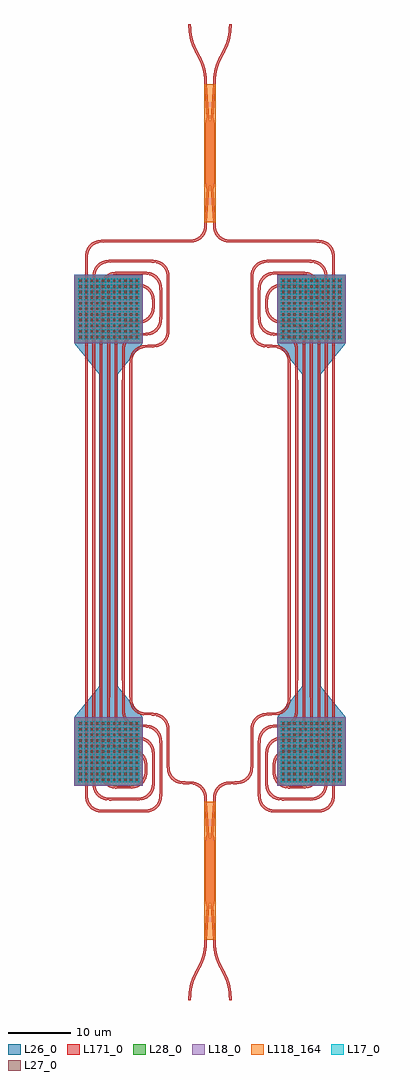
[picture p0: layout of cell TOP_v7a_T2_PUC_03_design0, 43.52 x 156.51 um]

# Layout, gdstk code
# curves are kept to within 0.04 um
import gdstk
lib = gdstk.Library(unit=1e-6, precision=1e-09)
def R(c, l, rs):  # rectangles x0, y0, x1, y1
    for r in rs: c.add(gdstk.rectangle(r[:2], r[2:], *l))
def A(c, l, x, y, w, h, nx, ny, dx, dy):  # array of equal rectangles
    R(c, l, [(x+i*dx, y+j*dy, x+i*dx+w, y+j*dy+h) for i in range(nx) for j in range(ny)])
def P(c, l, *ps):  # polygons
    for p in ps: c.add(gdstk.Polygon(p, *l))
L17_0 = (17, 0)
L18_0 = (18, 0)
L26_0 = (26, 0)
L27_0 = (27, 0)
L28_0 = (28, 0)
L118_164 = (118, 164)
L171_0 = (171, 0)

top_v7a_t2_puc_03_design = lib.new_cell('TOP_v7a_T2_PUC_03_design0')
A(top_v7a_t2_puc_03_design, L17_0, -21.16, -43.323, 0.2, 0.2, 21, 21, 0.48, 0.48)
A(top_v7a_t2_puc_03_design, L17_0, 11.36, -43.323, 0.2, 0.2, 21, 21, 0.48, 0.48)
A(top_v7a_t2_puc_03_design, L17_0, -21.16, 27.677, 0.2, 0.2, 21, 21, 0.48, 0.48)
A(top_v7a_t2_puc_03_design, L17_0, 11.36, 27.677, 0.2, 0.2, 21, 21, 0.48, 0.48)
R(top_v7a_t2_puc_03_design, L18_0, [(-21.76,-43.923,-10.76,-32.923), (10.76,-43.923,21.76,-32.923), (-21.76,27.077,-10.76,38.077), (10.76,27.077,21.76,38.077)])
R(top_v7a_t2_puc_03_design, L26_0, [(-21.76,-43.923,-10.76,-32.923), (10.76,-43.923,21.76,-32.923), (-17.76,-27.923,-14.76,22.077), (14.76,-27.923,17.76,22.077), (-21.76,27.077,-10.76,38.077), (10.76,27.077,21.76,38.077)])
P(top_v7a_t2_puc_03_design, L26_0, [(14.76,22.077),(10.76,27.077),(21.76,27.077),(17.76,22.077)],
  [(10.76,-32.923),(14.76,-27.923),(17.76,-27.923),(21.76,-32.923)],
  [(-17.76,22.077),(-21.76,27.077),(-10.76,27.077),(-14.76,22.077)],
  [(-21.76,-32.923),(-17.76,-27.923),(-14.76,-27.923),(-10.76,-32.923)])
A(top_v7a_t2_puc_03_design, L27_0, -20.94, -43.103, 0.36, 0.36, 11, 11, 0.9, 0.9)
A(top_v7a_t2_puc_03_design, L27_0, 11.58, -43.103, 0.36, 0.36, 11, 11, 0.9, 0.9)
A(top_v7a_t2_puc_03_design, L27_0, -20.94, 27.897, 0.36, 0.36, 11, 11, 0.9, 0.9)
A(top_v7a_t2_puc_03_design, L27_0, 11.58, 27.897, 0.36, 0.36, 11, 11, 0.9, 0.9)
R(top_v7a_t2_puc_03_design, L28_0, [(-21.76,-43.923,-10.76,-32.923), (10.76,-43.923,21.76,-32.923), (-21.76,27.077,-10.76,38.077), (10.76,27.077,21.76,38.077)])
R(top_v7a_t2_puc_03_design, L118_164, [(-0.91,-68.623,0.91,-46.423), (-0.91,46.423,0.91,68.623)])
R(top_v7a_t2_puc_03_design, L171_0, [(-16.815,43.218,-3.705,43.628), (3.705,43.218,16.815,43.628)])
P(top_v7a_t2_puc_03_design, L171_0, [(10.722,-48.179),(9.667,-48.085),(8.871,-47.751),(8.488,-47.451),(8.204,-47.126),(7.979,-46.758),(7.805,-46.305),(7.685,-45.252),(7.692,-36.775),(7.778,-36.11),(7.979,-35.548),(8.304,-35.052),(8.694,-34.679),(9.203,-34.376),(9.721,-34.209),(11.722,-34.09),(12.495,-33.852),(12.953,-33.528),(13.315,-33.1),(13.54,-32.636),(13.659,-32.068),(13.68,25.88),(13.605,26.561),(13.431,27.05),(13.117,27.515),(12.657,27.912),(12.237,28.121),(11.819,28.23),(10.108,28.305),(9.353,28.469),(8.609,28.901),(8.056,29.56),(7.805,30.155),(7.692,30.929),(7.708,36.089),(7.805,36.639),(7.979,37.092),(8.27,37.546),(8.651,37.927),(9.105,38.218),(9.558,38.392),(10.722,38.513),(14.892,38.509),(15.88,38.361),(16.554,38.025),(17.099,37.503),(17.463,36.844),(17.627,36.089),(17.647,-41.6),(17.53,-42.485),(17.163,-43.262),(16.554,-43.871),(15.828,-44.223),(15.003,-44.351),(12.702,-44.351),(11.982,-44.252),(11.38,-44.014),(10.745,-43.515),(10.303,-42.84),(10.097,-42.101),(10.054,-40.985),(10.097,-40.205),(10.242,-39.616),(10.542,-39.044),(10.938,-38.602),(11.427,-38.267),(11.982,-38.054),(12.646,-37.958),(14.092,-37.91),(14.563,-37.803),(14.906,-37.65),(15.391,-37.284),(15.734,-36.84),(15.951,-36.322),(16.041,-35.741),(16.029,34.132),(15.91,34.7),(15.659,35.203),(15.253,35.655),(14.738,35.978),(14.334,36.112),(13.8,36.181),(11.487,36.178),(11.001,36.112),(10.554,35.958),(10.155,35.714),(9.817,35.39),(9.578,35.043),(9.397,34.611),(9.281,33.593),(9.294,32.809),(9.384,32.228),(9.601,31.71),(9.944,31.266),(10.388,30.923),(10.906,30.706),(11.487,30.616),(13.134,30.542),(13.662,30.396),(14.184,30.115),(14.661,29.678),(15.032,29.084),(15.23,28.4),(15.281,27.565),(15.262,-33.969),(15.16,-34.575),(14.936,-35.123),(14.553,-35.645),(14.094,-36.021),(13.612,-36.261),(13.078,-36.398),(11.34,-36.474),(10.772,-36.593),(10.155,-36.926),(9.625,-37.516),(9.384,-38.074),(9.291,-38.703),(9.306,-43.798),(9.458,-44.454),(9.817,-45.056),(10.308,-45.488),(10.906,-45.754),(11.879,-45.857),(15.826,-45.857),(16.559,-45.806),(17.317,-45.537),(17.947,-44.983),(18.308,-44.277),(18.42,-43.456),(18.414,37.757),(18.345,38.291),(18.211,38.695),(17.975,39.099),(17.693,39.412),(17.317,39.691),(16.933,39.867),(16.023,40.007),(9.509,40.011),(8.679,39.942),(8.059,39.714),(7.574,39.348),(7.164,38.78),(6.962,38.146),(6.91,37.266),(6.911,29.381),(6.962,28.648),(7.124,28.099),(7.36,27.695),(7.642,27.382),(7.978,27.127),(8.358,26.943),(8.97,26.808),(10.764,26.722),(11.292,26.576),(11.77,26.325),(12.22,25.939),(12.566,25.457),(12.79,24.909),(12.892,24.303),(12.911,-29.591),(12.86,-30.426),(12.704,-31.01),(12.359,-31.619),(11.858,-32.109),(11.392,-32.38),(10.819,-32.558),(8.97,-32.654),(8.402,-32.773),(7.712,-33.165),(7.231,-33.736),(7.014,-34.254),(6.921,-34.883),(6.91,-40.423),(6.5,-40.423),(6.507,-34.865),(6.606,-34.145),(6.844,-33.543),(7.383,-32.872),(7.778,-32.589),(8.168,-32.405),(8.923,-32.241),(10.683,-32.157),(11.183,-32.004),(11.587,-31.768),(12.022,-31.343),(12.322,-30.814),(12.462,-30.255),(12.5,-29.472),(12.474,24.312),(12.355,24.88),(12.155,25.304),(11.836,25.708),(11.432,26.027),(11.052,26.211),(10.634,26.32),(8.923,26.395),(8.118,26.578),(7.686,26.799),(7.303,27.099),(6.987,27.468),(6.748,27.89),(6.57,28.463),(6.503,29.13),(6.523,37.999),(6.62,38.549),(6.794,39.002),(7.051,39.413),(7.424,39.803),(7.825,40.078),(8.27,40.271),(8.757,40.38),(9.426,40.422),(15.909,40.422),(16.908,40.316),(17.604,40.023),(18.181,39.539),(18.587,38.904),(18.793,38.165),(18.86,28.429),(18.832,-43.51),(18.715,-44.395),(18.348,-45.172),(17.739,-45.781),(17.317,-46.02),(16.908,-46.162),(16.077,-46.265),(11.907,-46.269),(10.743,-46.148),(10.01,-45.811),(9.455,-45.302),(9.076,-44.65),(8.893,-43.845),(8.88,-38.629),(8.99,-37.911),(9.269,-37.269),(9.524,-36.921),(9.879,-36.589),(10.64,-36.189),(11.349,-36.056),(13.004,-35.986),(13.762,-35.717),(14.206,-35.374),(14.525,-34.97),(14.725,-34.546),(14.844,-33.978),(14.87,27.446),(14.818,28.326),(14.656,28.875),(14.333,29.39),(13.881,29.796),(13.466,30.014),(13.004,30.14),(11.349,30.21),(10.743,30.312),(10.101,30.591),(9.597,30.995),(9.214,31.517),(8.99,32.065),(8.888,32.671),(8.869,33.565),(8.99,34.729),(9.189,35.23),(9.489,35.678),(9.879,36.051),(10.29,36.308),(10.743,36.482),(11.349,36.584),(13.986,36.584),(14.592,36.482),(15.045,36.308),(15.582,35.948),(16.038,35.416),(16.314,34.832),(16.447,34.123),(16.49,24.609),(16.447,-35.879),(16.33,-36.536),(16.066,-37.127),(15.662,-37.631),(15.187,-37.987),(14.695,-38.207),(14.263,-38.308),(12.186,-38.438),(11.697,-38.612),(11.267,-38.895),(10.915,-39.271),(10.643,-39.762),(10.517,-40.224),(10.466,-40.957),(10.503,-41.985),(10.679,-42.631),(11.065,-43.216),(11.614,-43.65),(12.091,-43.844),(12.72,-43.937),(14.838,-43.943),(15.659,-43.831),(16.365,-43.47),(16.87,-42.92),(17.16,-42.227),(17.239,-41.349),(17.214,36.042),(17.079,36.654),(16.762,37.227),(16.251,37.706),(15.659,37.985),(14.641,38.101),(10.35,38.091),(9.816,38.022),(9.412,37.888),(8.97,37.624),(8.632,37.3),(8.393,36.953),(8.212,36.521),(8.096,35.503),(8.109,30.899),(8.226,30.228),(8.491,29.681),(9.008,29.142),(9.676,28.809),(10.302,28.706),(11.838,28.65),(12.675,28.398),(13.086,28.141),(13.441,27.809),(13.751,27.367),(13.944,26.922),(14.053,26.435),(14.095,25.766),(14.12,16.699),(14.072,-32.115),(13.96,-32.716),(13.724,-33.26),(13.368,-33.735),(12.909,-34.111),(12.427,-34.351),(11.893,-34.488),(10.155,-34.564),(9.543,-34.699),(9.163,-34.883),(8.827,-35.138),(8.545,-35.451),(8.309,-35.855),(8.147,-36.404),(8.096,-37.137),(8.121,-45.708),(8.273,-46.364),(8.632,-46.966),(9.163,-47.423),(9.816,-47.688),(10.841,-47.768),(17.011,-47.767),(17.744,-47.716),(18.502,-47.447),(19.132,-46.893),(19.493,-46.187),(19.605,-45.366),(19.61,40.423),(20.02,40.423),(19.997,-45.755),(19.814,-46.56),(19.435,-47.212),(18.88,-47.721),(18.147,-48.058),(17.094,-48.178)],
  [(-16.983,-48.179),(-17.708,-48.143),(-18.25,-48.027),(-18.742,-47.807),(-19.177,-47.488),(-19.533,-47.082),(-19.814,-46.56),(-19.97,-45.976),(-20.017,-45.42),(-20.02,40.423),(-19.61,40.423),(-19.605,-45.366),(-19.54,-45.999),(-19.396,-46.451),(-19.132,-46.893),(-18.808,-47.231),(-18.42,-47.492),(-17.984,-47.664),(-16.864,-47.768),(-10.694,-47.767),(-9.816,-47.688),(-9.163,-47.423),(-8.632,-46.966),(-8.273,-46.364),(-8.121,-45.708),(-8.096,-37.137),(-8.147,-36.404),(-8.309,-35.855),(-8.545,-35.451),(-8.827,-35.138),(-9.163,-34.883),(-9.543,-34.699),(-10.155,-34.564),(-11.893,-34.488),(-12.427,-34.351),(-12.909,-34.111),(-13.368,-33.735),(-13.724,-33.26),(-13.96,-32.716),(-14.072,-32.115),(-14.12,16.699),(-14.095,25.766),(-14.053,26.435),(-13.944,26.922),(-13.751,27.367),(-13.441,27.809),(-13.086,28.141),(-12.675,28.398),(-11.838,28.65),(-10.302,28.706),(-9.631,28.823),(-8.97,29.17),(-8.465,29.72),(-8.212,30.273),(-8.106,30.947),(-8.1,35.7),(-8.147,36.236),(-8.256,36.654),(-8.465,37.074),(-8.759,37.438),(-9.123,37.732),(-9.543,37.941),(-9.961,38.05),(-10.497,38.097),(-14.838,38.097),(-15.659,37.985),(-16.251,37.706),(-16.762,37.227),(-17.079,36.654),(-17.214,36.042),(-17.239,-41.349),(-17.16,-42.227),(-16.87,-42.92),(-16.365,-43.47),(-15.659,-43.831),(-14.838,-43.943),(-12.72,-43.937),(-12.091,-43.844),(-11.614,-43.65),(-11.065,-43.216),(-10.679,-42.631),(-10.503,-41.985),(-10.466,-40.957),(-10.517,-40.224),(-10.643,-39.762),(-10.915,-39.271),(-11.267,-38.895),(-11.697,-38.612),(-12.186,-38.438),(-14.263,-38.308),(-14.695,-38.207),(-15.187,-37.987),(-15.662,-37.631),(-16.066,-37.127),(-16.33,-36.536),(-16.447,-35.879),(-16.49,-26.365),(-16.447,34.123),(-16.314,34.832),(-16.038,35.416),(-15.582,35.948),(-15.045,36.308),(-14.592,36.482),(-13.986,36.584),(-11.349,36.584),(-10.743,36.482),(-10.29,36.308),(-9.879,36.051),(-9.489,35.678),(-9.189,35.23),(-8.99,34.729),(-8.869,33.565),(-8.888,32.671),(-8.99,32.065),(-9.214,31.517),(-9.597,30.995),(-10.101,30.591),(-10.743,30.312),(-11.349,30.21),(-13.004,30.14),(-13.466,30.014),(-13.881,29.796),(-14.333,29.39),(-14.656,28.875),(-14.818,28.326),(-14.87,27.446),(-14.844,-33.978),(-14.725,-34.546),(-14.525,-34.97),(-14.206,-35.374),(-13.762,-35.717),(-13.004,-35.986),(-11.349,-36.056),(-10.64,-36.189),(-9.879,-36.589),(-9.524,-36.921),(-9.269,-37.269),(-8.99,-37.911),(-8.88,-38.629),(-8.893,-43.845),(-9.057,-44.6),(-9.421,-45.259),(-9.966,-45.781),(-10.692,-46.133),(-11.182,-46.233),(-11.907,-46.269),(-15.909,-46.268),(-16.799,-46.187),(-17.217,-46.062),(-17.649,-45.841),(-18.284,-45.259),(-18.684,-44.498),(-18.832,-43.51),(-18.86,28.429),(-18.812,37.999),(-18.629,38.804),(-18.216,39.498),(-17.649,39.995),(-16.908,40.316),(-15.909,40.422),(-8.923,40.399),(-8.118,40.216),(-7.383,39.768),(-6.871,39.144),(-6.581,38.386),(-6.499,37.385),(-6.507,29.019),(-6.593,28.354),(-6.794,27.792),(-7.119,27.296),(-7.509,26.923),(-8.018,26.62),(-8.536,26.453),(-10.537,26.334),(-11.31,26.096),(-11.768,25.772),(-12.13,25.344),(-12.355,24.88),(-12.474,24.312),(-12.495,-29.816),(-12.42,-30.497),(-12.246,-30.986),(-11.932,-31.451),(-11.472,-31.848),(-11.052,-32.057),(-10.634,-32.166),(-8.923,-32.241),(-8.168,-32.405),(-7.778,-32.589),(-7.383,-32.872),(-6.844,-33.543),(-6.606,-34.145),(-6.507,-34.865),(-6.5,-40.423),(-6.91,-40.423),(-6.921,-34.883),(-7.014,-34.254),(-7.231,-33.736),(-7.712,-33.165),(-8.402,-32.773),(-8.97,-32.654),(-10.819,-32.558),(-11.392,-32.38),(-11.858,-32.109),(-12.359,-31.619),(-12.704,-31.01),(-12.86,-30.426),(-12.911,-29.591),(-12.892,24.303),(-12.79,24.909),(-12.566,25.457),(-12.22,25.939),(-11.77,26.325),(-11.292,26.576),(-10.764,26.722),(-8.97,26.808),(-8.358,26.943),(-7.978,27.127),(-7.642,27.382),(-7.36,27.695),(-7.124,28.099),(-6.962,28.648),(-6.911,29.381),(-6.948,38.049),(-7.164,38.78),(-7.574,39.348),(-8.142,39.758),(-8.873,39.974),(-16.17,40.001),(-16.933,39.867),(-17.55,39.534),(-17.947,39.137),(-18.229,38.652),(-18.373,38.146),(-18.424,37.413),(-18.425,-43.112),(-18.373,-43.992),(-18.149,-44.668),(-17.693,-45.258),(-17.065,-45.662),(-16.559,-45.806),(-15.826,-45.857),(-11.879,-45.857),(-11.001,-45.778),(-10.348,-45.513),(-9.817,-45.056),(-9.458,-44.454),(-9.306,-43.798),(-9.291,-38.703),(-9.384,-38.074),(-9.625,-37.516),(-10.155,-36.926),(-10.772,-36.593),(-11.34,-36.474),(-13.078,-36.398),(-13.612,-36.261),(-14.094,-36.021),(-14.553,-35.645),(-14.936,-35.123),(-15.16,-34.575),(-15.262,-33.969),(-15.281,27.565),(-15.23,28.4),(-15.032,29.084),(-14.661,29.678),(-14.184,30.115),(-13.662,30.396),(-13.134,30.542),(-11.487,30.616),(-10.906,30.706),(-10.388,30.923),(-9.944,31.266),(-9.601,31.71),(-9.397,32.183),(-9.306,32.662),(-9.28,33.446),(-9.384,34.566),(-9.534,34.96),(-9.758,35.317),(-10.082,35.655),(-10.429,35.894),(-10.861,36.075),(-11.34,36.166),(-13.8,36.181),(-14.334,36.112),(-14.738,35.978),(-15.253,35.655),(-15.659,35.203),(-15.91,34.7),(-16.029,34.132),(-16.041,-35.741),(-15.951,-36.322),(-15.734,-36.84),(-15.391,-37.284),(-14.906,-37.65),(-14.563,-37.803),(-14.092,-37.91),(-12.646,-37.958),(-11.982,-38.054),(-11.427,-38.267),(-10.938,-38.602),(-10.542,-39.044),(-10.242,-39.616),(-10.097,-40.205),(-10.054,-40.985),(-10.097,-42.101),(-10.303,-42.84),(-10.745,-43.515),(-11.38,-44.014),(-11.982,-44.252),(-12.702,-44.351),(-15.003,-44.351),(-15.88,-44.207),(-16.641,-43.807),(-17.193,-43.218),(-17.53,-42.485),(-17.647,-41.6),(-17.615,36.2),(-17.444,36.894),(-17.065,37.546),(-16.554,38.025),(-15.88,38.361),(-14.892,38.509),(-10.164,38.494),(-9.558,38.392),(-9.105,38.218),(-8.694,37.961),(-8.304,37.588),(-8.004,37.14),(-7.805,36.639),(-7.684,35.475),(-7.695,30.873),(-7.805,30.155),(-8.084,29.513),(-8.339,29.165),(-8.694,28.833),(-9.455,28.433),(-10.164,28.3),(-11.819,28.23),(-12.281,28.104),(-12.696,27.886),(-13.148,27.48),(-13.471,26.965),(-13.633,26.416),(-13.685,25.536),(-13.659,-32.068),(-13.54,-32.636),(-13.34,-33.06),(-13.021,-33.464),(-12.617,-33.783),(-12.237,-33.967),(-11.819,-34.076),(-10.108,-34.151),(-9.303,-34.334),(-8.871,-34.555),(-8.488,-34.855),(-8.172,-35.224),(-7.933,-35.646),(-7.755,-36.219),(-7.688,-36.886),(-7.72,-45.866),(-7.933,-46.66),(-8.339,-47.295),(-8.916,-47.779),(-9.612,-48.072),(-10.611,-48.178)],
  [(-0.91,46.423),(-0.536,51.613),(-0.731,52.716),(-0.792,53.768),(-0.728,57.082),(-0.79,61.389),(-0.731,62.33),(-0.537,63.487),(-0.91,68.623),(-0.5,68.623),(-0.144,63.051),(-0.095,62.757),(0,62.651),(0.095,62.757),(0.144,63.051),(0.5,68.623),(0.91,68.623),(0.536,63.433),(0.731,62.33),(0.792,61.278),(0.728,57.964),(0.79,53.657),(0.731,52.716),(0.537,51.559),(0.91,46.423),(0.5,46.423),(0.144,51.995),(0.095,52.289),(0,52.395),(-0.095,52.289),(-0.144,51.995),(-0.5,46.423)],
  [(-0.91,-68.623),(-0.536,-63.433),(-0.731,-62.33),(-0.792,-61.278),(-0.728,-57.964),(-0.79,-53.657),(-0.731,-52.716),(-0.537,-51.559),(-0.91,-46.423),(-0.5,-46.423),(-0.144,-51.995),(-0.095,-52.289),(0,-52.395),(0.095,-52.289),(0.144,-51.995),(0.5,-46.423),(0.91,-46.423),(0.536,-51.613),(0.731,-52.716),(0.792,-53.768),(0.728,-57.082),(0.79,-61.389),(0.731,-62.33),(0.537,-63.487),(0.91,-68.623),(0.5,-68.623),(0.144,-63.051),(0.095,-62.757),(0,-62.651),(-0.095,-62.757),(-0.144,-63.051),(-0.5,-68.623)],
  [(0.5,68.623),(0.605,70.203),(0.899,71.514),(1.285,72.51),(2.312,74.548),(2.681,75.516),(2.96,76.805),(3.05,78.253),(3.46,78.253),(3.355,76.673),(3.061,75.362),(2.675,74.366),(1.648,72.328),(1.279,71.36),(1,70.071),(0.91,68.623)],
  [(-0.91,68.623),(-1,70.071),(-1.279,71.36),(-1.699,72.439),(-2.748,74.529),(-3.159,75.701),(-3.379,76.851),(-3.46,78.253),(-3.05,78.253),(-2.96,76.805),(-2.681,75.516),(-2.261,74.437),(-1.212,72.347),(-0.801,71.175),(-0.581,70.025),(-0.5,68.623)],
  [(3.05,-78.253),(2.96,-76.805),(2.681,-75.516),(2.261,-74.437),(1.212,-72.347),(0.801,-71.175),(0.581,-70.025),(0.5,-68.623),(0.91,-68.623),(1,-70.071),(1.279,-71.36),(1.699,-72.439),(2.748,-74.529),(3.159,-75.701),(3.379,-76.851),(3.46,-78.253)],
  [(-3.46,-78.253),(-3.355,-76.673),(-3.061,-75.362),(-2.675,-74.366),(-1.648,-72.328),(-1.279,-71.36),(-1,-70.071),(-0.91,-68.623),(-0.5,-68.623),(-0.605,-70.203),(-0.899,-71.514),(-1.285,-72.51),(-2.312,-74.548),(-2.681,-75.516),(-2.96,-76.805),(-3.05,-78.253)],
  [(3.537,43.217),(2.812,43.253),(2.27,43.369),(1.686,43.645),(1.227,44.021),(0.871,44.496),(0.635,45.04),(0.523,45.641),(0.5,46.423),(0.91,46.423),(0.936,45.688),(1.041,45.164),(1.255,44.696),(1.574,44.292),(1.978,43.973),(2.446,43.759),(2.97,43.654),(3.705,43.628),(3.705,43.218)],
  [(19.61,40.423),(19.584,41.158),(19.506,41.592),(19.334,42.028),(19.073,42.416),(18.621,42.822),(18.118,43.073),(17.55,43.192),(16.815,43.218),(16.815,43.628),(17.597,43.605),(18.25,43.477),(18.88,43.171),(19.366,42.745),(19.814,42.01),(19.997,41.205),(20.02,40.423)],
  [(-3.593,43.217),(-3.705,43.218),(-3.705,43.628),(-2.97,43.654),(-2.446,43.759),(-1.978,43.973),(-1.574,44.292),(-1.255,44.696),(-1.041,45.164),(-0.936,45.688),(-0.91,46.423),(-0.5,46.423),(-0.523,45.641),(-0.635,45.04),(-0.871,44.496),(-1.227,44.021),(-1.686,43.645),(-2.27,43.369),(-2.812,43.253)],
  [(-20.02,40.423),(-19.997,41.205),(-19.885,41.806),(-19.649,42.35),(-19.293,42.825),(-18.834,43.201),(-18.25,43.477),(-17.597,43.605),(-16.815,43.628),(-16.815,43.218),(-17.55,43.192),(-18.074,43.087),(-18.542,42.873),(-18.946,42.554),(-19.265,42.15),(-19.479,41.682),(-19.584,41.158),(-19.61,40.423)],
  [(0.5,-46.423),(0.523,-45.641),(0.635,-45.04),(0.871,-44.496),(1.227,-44.021),(1.686,-43.645),(2.27,-43.369),(2.923,-43.241),(3.705,-43.218),(3.705,-43.628),(2.97,-43.654),(2.446,-43.759),(1.978,-43.973),(1.574,-44.292),(1.255,-44.696),(1.041,-45.164),(0.936,-45.688),(0.91,-46.423)],
  [(3.817,-43.629),(3.705,-43.628),(3.705,-43.218),(4.44,-43.192),(4.964,-43.087),(5.432,-42.873),(5.836,-42.554),(6.155,-42.15),(6.369,-41.682),(6.474,-41.158),(6.5,-40.423),(6.91,-40.423),(6.887,-41.205),(6.775,-41.806),(6.539,-42.35),(6.183,-42.825),(5.724,-43.201),(5.14,-43.477),(4.598,-43.593)],
  [(-0.91,-46.423),(-0.936,-45.688),(-1.014,-45.254),(-1.186,-44.818),(-1.447,-44.43),(-1.899,-44.024),(-2.402,-43.773),(-2.97,-43.654),(-3.705,-43.628),(-3.705,-43.218),(-2.923,-43.241),(-2.27,-43.369),(-1.64,-43.675),(-1.154,-44.101),(-0.706,-44.836),(-0.523,-45.641),(-0.5,-46.423)],
  [(-3.873,-43.629),(-4.598,-43.593),(-5.14,-43.477),(-5.724,-43.201),(-6.183,-42.825),(-6.539,-42.35),(-6.775,-41.806),(-6.887,-41.205),(-6.91,-40.423),(-6.5,-40.423),(-6.474,-41.158),(-6.369,-41.682),(-6.155,-42.15),(-5.836,-42.554),(-5.432,-42.873),(-4.964,-43.087),(-4.44,-43.192),(-3.705,-43.218),(-3.705,-43.628)])

lib.write_gds('TOP_v7a_T2_PUC_03_design0.gds')
